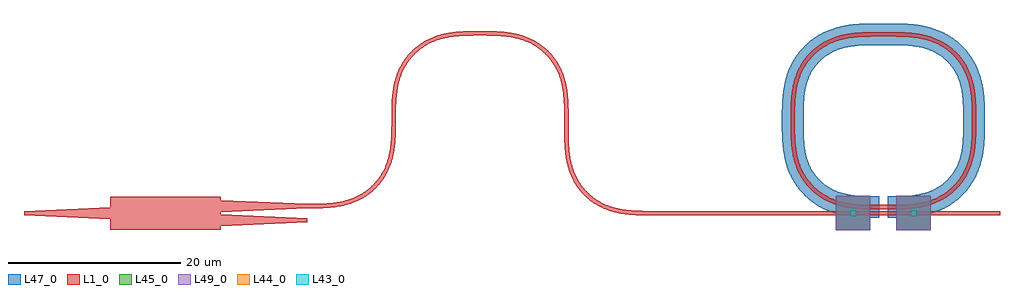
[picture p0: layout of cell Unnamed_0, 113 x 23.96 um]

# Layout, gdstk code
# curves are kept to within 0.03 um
from math import pi, radians
import gdstk
lib = gdstk.Library(unit=1e-6, precision=1e-09)
def R(c, l, rs):  # rectangles x0, y0, x1, y1
    for r in rs: c.add(gdstk.rectangle(r[:2], r[2:], *l))
def P(c, l, *ps):  # polygons
    for p in ps: c.add(gdstk.Polygon(p, *l))
L1_0 = (1, 0)
L43_0 = (43, 0)
L44_0 = (44, 0)
L45_0 = (45, 0)
L47_0 = (47, 0)
L49_0 = (49, 0)

c__mmi1x2_lm12p8_wm3p8_gm0 = lib.new_cell('_mmi1x2_LM12p8_WM3p8_GM0p25_LT10_WT1p4')
P(c__mmi1x2_lm12p8_wm3p8_gm0, L1_0, [(0,-1.9),(0,-0.7),(-10,-0.25),(-10,0.25),(0,0.7),(0,1.9),(12.8,1.9),(12.8,1.525),(22.8,1.075),(22.8,0.575),(12.8,0.125),(12.8,-0.125),(22.8,-0.575),(22.8,-1.075),(12.8,-1.525),(12.8,-1.9)])

ring_double_heater_gdsfa = lib.new_cell('ring_double_heater_gdsfactorypcomponentspringspring_hea_5fa26a63')
R(ring_double_heater_gdsfa, L1_0, [(-14,-0.25,13,0.25)])
P(ring_double_heater_gdsfa, L1_0, [(-1.416,0.45),(-3.233,0.497),(-4.496,0.63),(-5.609,0.864),(-6.688,1.243),(-7.7,1.784),(-8.615,2.476),(-9.318,3.193),(-9.992,4.121),(-10.457,5.012),(-10.797,5.954),(-11.048,7.064),(-11.194,8.327),(-11.25,10.284),(-11.203,12.943),(-11.048,14.346),(-10.756,15.593),(-10.457,16.398),(-10.137,17.041),(-9.756,17.649),(-9.318,18.217),(-8.826,18.739),(-8.285,19.21),(-7.7,19.626),(-7.078,19.983),(-5.902,20.46),(-1.415,20.46),(-3.065,20.422),(-4.285,20.306),(-5.477,20.063),(-6.488,19.709),(-7.431,19.205),(-8.283,18.56),(-9.024,17.789),(-9.635,16.913),(-10.051,16.075),(-10.388,15.056),(-10.596,13.995),(-10.712,12.775),(-10.749,10.008),(-10.695,8.362),(-10.531,7.013),(-10.237,5.837),(-9.887,4.969),(-9.495,4.269),(-9.024,3.621),(-8.479,3.032),(-7.869,2.511),(-7.203,2.065),(-6.488,1.701),(-5.606,1.383),(-4.553,1.146),(-3.338,1.005),(-1.83,0.952),(0.692,0.951),(2.881,1.053),(3.952,1.22),(4.735,1.422),(5.61,1.756),(6.431,2.205),(7.182,2.762),(7.76,3.318),(8.269,3.938),(8.765,4.731),(9.149,5.584),(9.388,6.354),(9.596,7.415),(9.719,8.772),(9.749,11.402),(9.704,12.912),(9.596,13.995),(9.388,15.056),(9.101,15.951),(8.701,16.797),(8.269,17.472),(7.85,17.993),(7.382,18.47),(6.869,18.899),(6.317,19.276),(5.731,19.597),(5.116,19.859),(4.346,20.098),(3.151,20.324),(1.655,20.441),(-5.902,20.46),(-5.055,20.679),(-3.935,20.854),(-2.812,20.935),(-1.416,20.96),(1.253,20.952),(2.514,20.893),(3.776,20.733),(4.883,20.466),(5.688,20.167),(6.455,19.776),(7.171,19.298),(7.826,18.739),(8.41,18.107),(8.992,17.289),(9.398,16.529),(9.712,15.729),(9.969,14.765),(10.128,13.785),(10.219,12.663),(10.249,11.405),(10.239,9.308),(10.171,8.046),(10.023,6.924),(9.756,5.817),(9.457,5.012),(9.137,4.369),(8.756,3.761),(8.318,3.193),(7.826,2.671),(7.285,2.2),(6.579,1.708),(5.949,1.363),(5.289,1.082),(4.609,0.864),(3.075,0.572),(1.392,0.461)])
R(ring_double_heater_gdsfa, L43_0, [(-4.35,-0.35,-3.65,0.35), (2.65,-0.35,3.35,0.35)])
R(ring_double_heater_gdsfa, L44_0, [(-4.35,-0.35,-3.65,0.35), (2.65,-0.35,3.35,0.35)])
R(ring_double_heater_gdsfa, L45_0, [(-6,-2,-2,2), (1,-2,5,2)])
P(ring_double_heater_gdsfa, L47_0, [(-6,-2),(-6,-0.064),(-6.939,0.263),(-7.961,0.771),(-8.904,1.415),(-9.75,2.181),(-10.385,2.925),(-11.01,3.88),(-11.498,4.912),(-11.841,5.98),(-12.081,7.203),(-12.21,8.552),(-12.249,11.411),(-12.191,13.154),(-12.034,14.511),(-11.8,15.583),(-11.437,16.649),(-11.01,17.53),(-10.482,18.354),(-9.862,19.11),(-9.279,19.681),(-8.511,20.287),(-7.676,20.798),(-6.788,21.208),(-5.873,21.51),(-4.954,21.717),(-3.743,21.877),(-2.417,21.948),(0.843,21.958),(2.593,21.89),(3.801,21.744),(4.873,21.51),(5.939,21.147),(6.82,20.72),(7.511,20.287),(8.031,19.893),(8.635,19.345),(9.183,18.741),(9.577,18.221),(10.01,17.53),(10.373,16.799),(10.61,16.194),(10.979,14.817),(11.191,13.154),(11.25,10.281),(11.18,8.107),(11.034,6.899),(10.757,5.674),(10.373,4.611),(9.845,3.599),(9.385,2.925),(8.862,2.3),(8.4,1.838),(7.775,1.315),(7.101,0.855),(6.532,0.536),(5.788,0.202),(5,-0.064),(5,-2),(1,-2),(1,-0.546),(0,-0.55),(0,1.95),(2.224,2),(3.021,2.077),(4.098,2.281),(5.087,2.618),(5.987,3.11),(6.786,3.753),(7.46,4.526),(7.987,5.405),(8.211,5.931),(8.419,6.602),(8.665,8.052),(8.748,9.879),(8.714,12.72),(8.588,13.977),(8.323,15.148),(7.936,16.107),(7.392,16.976),(6.703,17.736),(5.891,18.363),(4.982,18.837),(3.982,19.158),(3.021,19.333),(1.75,19.436),(-2.75,19.436),(-3.898,19.348),(-4.747,19.211),(-5.66,18.96),(-6.397,18.646),(-7.174,18.17),(-7.786,17.657),(-8.392,16.976),(-8.829,16.308),(-9.25,15.37),(-9.547,14.219),(-9.706,12.849),(-9.75,11.123),(-9.726,8.95),(-9.588,7.433),(-9.287,6.15),(-8.829,5.102),(-8.25,4.255),(-7.532,3.523),(-6.697,2.928),(-5.876,2.53),(-4.982,2.252),(-3.898,2.062),(-3.224,2),(-1,1.95),(-1,-0.55),(-2,-0.546),(-2,-2)])
R(ring_double_heater_gdsfa, L49_0, [(-6,-2,-2,2), (1,-2,5,2)])

mrr_1x1_heater_tin_g0p2_ = lib.new_cell('mrr_1x1_heater_tin_G0p2_R10')
mrr_1x1_heater_tin_g0p2_.add(gdstk.Reference(ring_double_heater_gdsfa, (0,0)))

bend_euler_gdsfactorypco = lib.new_cell('bend_euler_gdsfactorypcomponentspbendspbend_euler_R10_A_335c8724')
P(bend_euler_gdsfactorypco, L1_0, [(0,-0.25),(0,0.25),(1.655,0.269),(2.881,0.353),(3.952,0.52),(4.99,0.806),(5.731,1.113),(6.431,1.505),(7.079,1.976),(7.575,2.425),(8.024,2.921),(8.495,3.569),(8.887,4.269),(9.194,5.01),(9.48,6.048),(9.647,7.119),(9.731,8.345),(9.75,10),(10.25,10),(10.235,8.468),(10.158,7.205),(10.023,6.224),(9.797,5.254),(9.457,4.312),(9.066,3.545),(8.5,2.715),(7.928,2.072),(7.285,1.5),(6.455,0.934),(5.688,0.543),(4.746,0.203),(3.776,-0.023),(2.795,-0.158),(1.532,-0.235)])

straight_gdsfactorypcomp = lib.new_cell('straight_gdsfactorypcomponentspwaveguidespstraight_L0p8_72a7319a')
R(straight_gdsfactorypcomp, L1_0, [(0,-0.25,0.825,0.25)])

c_straight_gdsfactorypcomp = lib.new_cell('straight_gdsfactorypcomponentspwaveguidespstraight_L13p_335ab774')
R(c_straight_gdsfactorypcomp, L1_0, [(0,-0.25,13.2,0.25)])

unnamed_0 = lib.new_cell('Unnamed_0')
unnamed_0.add(gdstk.Reference(c__mmi1x2_lm12p8_wm3p8_gm0, (0,-10)))
unnamed_0.add(gdstk.Reference(mrr_1x1_heater_tin_g0p2_, (90,-10)))
unnamed_0.add(gdstk.Reference(bend_euler_gdsfactorypco, (32.8,0.825), rotation=3*pi/2, x_reflection=True))
unnamed_0.add(gdstk.Reference(bend_euler_gdsfactorypco, (42.8,10.825), rotation=pi))
unnamed_0.add(gdstk.Reference(bend_euler_gdsfactorypco, (52.8,0.825), rotation=pi/2))
unnamed_0.add(gdstk.Reference(bend_euler_gdsfactorypco, (62.8,-10), rotation=pi, x_reflection=True))
unnamed_0.add(gdstk.Reference(straight_gdsfactorypcomp, (52.8,0.825), rotation=3*pi/2))
unnamed_0.add(gdstk.Reference(c_straight_gdsfactorypcomp, (62.8,-10)))

lib.write_gds('Unnamed_0.gds')
